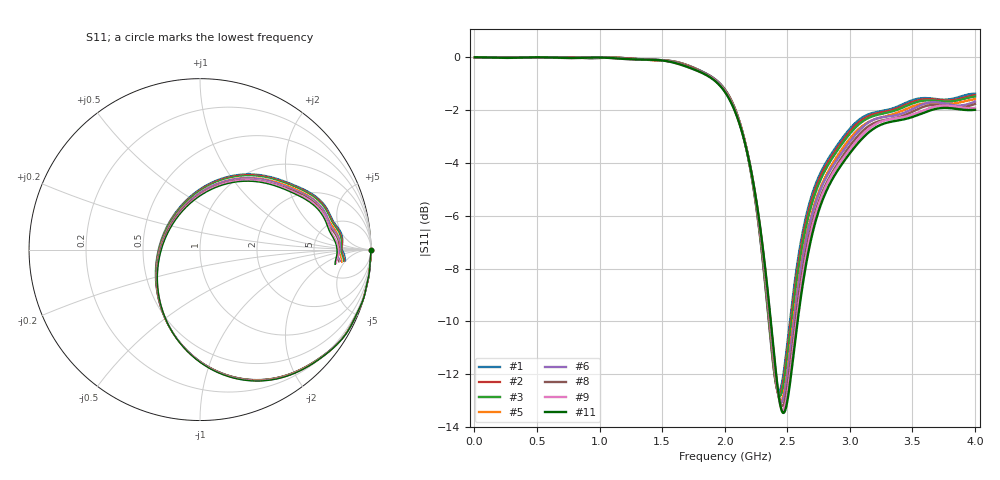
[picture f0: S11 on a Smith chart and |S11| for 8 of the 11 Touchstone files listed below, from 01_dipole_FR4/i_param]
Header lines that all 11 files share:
! TOUCHSTONE file generated by CST MICROWAVE STUDIO
! Project name: AppElm_antenne_dipole_FR4.cst
! Header version: 2018
! Port assignment regex: !\s*Touchstone port\s*([0-9]+)\s*=\s*(CST MWS port|CST DS port)\s*([0-9]+|Zmin|Zmax)\s*\(\"(.*)\"\)(\s*mode\s*([0-9]+))?.*
! Touchstone port assignment:
! Touchstone port 1 = CST MWS port 1 ("")
# GHz S MA R 50
Fixed: L = 38.8, e = 0.035, f = 2.45e+09, h = 1.6, l1 = 4, lambda = 122.449, ls = 30, wl = 1.7, ws = 80
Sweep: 4 MHz to 4 GHz
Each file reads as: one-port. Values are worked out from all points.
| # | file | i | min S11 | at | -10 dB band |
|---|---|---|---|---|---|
| 1 | AppElm_antenne_dipole_FR4_1.s1p | 0.6 | -12.6 dB | 2.432 GHz | 168.5 MHz wide |
| 2 | AppElm_antenne_dipole_FR4_2.s1p | 0.64 | -12.7 dB | 2.436 GHz | 174 MHz wide |
| 3 | AppElm_antenne_dipole_FR4_3.s1p | 0.68 | -12.8 dB | 2.44 GHz | 178.3 MHz wide |
| 4 | AppElm_antenne_dipole_FR4_4.s1p | 0.72 | -12.9 dB | 2.444 GHz | 184.3 MHz wide |
| 5 | AppElm_antenne_dipole_FR4_5.s1p | 0.76 | -13.0 dB | 2.448 GHz | 188.3 MHz wide |
| 6 | AppElm_antenne_dipole_FR4_6.s1p | 0.8 | -13.1 dB | 2.452 GHz | 191.5 MHz wide |
| 7 | AppElm_antenne_dipole_FR4_7.s1p | 0.84 | -13.1 dB | 2.456 GHz | 195.9 MHz wide |
| 8 | AppElm_antenne_dipole_FR4_8.s1p | 0.88 | -13.2 dB | 2.46 GHz | 199.8 MHz wide |
| 9 | AppElm_antenne_dipole_FR4_9.s1p | 0.92 | -13.4 dB | 2.464 GHz | 207 MHz wide |
| 10 | AppElm_antenne_dipole_FR4_10.s1p | 0.96 | -13.4 dB | 2.464 GHz | 210.7 MHz wide |
| 11 | AppElm_antenne_dipole_FR4_11.s1p | 1 | -13.5 dB | 2.468 GHz | 214.1 MHz wide |
